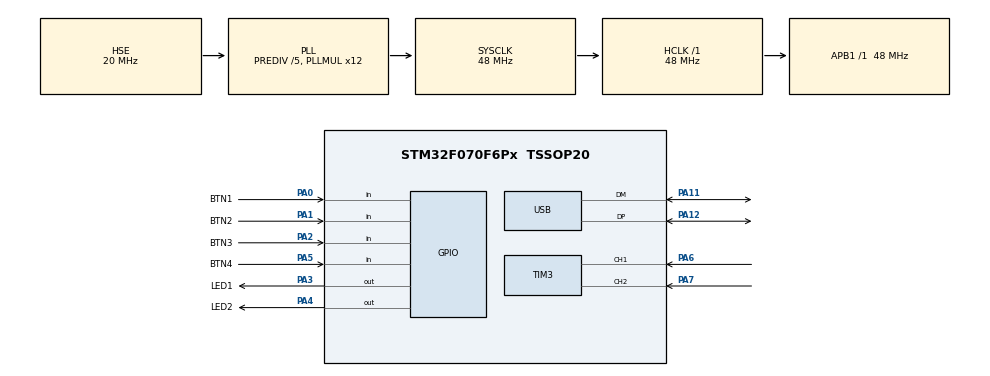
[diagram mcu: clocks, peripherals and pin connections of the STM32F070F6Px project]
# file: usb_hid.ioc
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Mcu.Family=STM32F0
Mcu.Name=STM32F070F6Px
Mcu.Package=TSSOP20
NVIC.TIM3_IRQn=true\:0\:0\:false\:false\:true\:true\:true
NVIC.USB_IRQn=true\:0\:0\:false\:false\:true\:false\:true
PA0.GPIO_Label=BTN1
PA0.GPIO_PuPd=GPIO_PULLUP
PA0.Signal=GPIO_Input
PA1.GPIO_Label=BTN2
PA1.GPIO_PuPd=GPIO_PULLUP
PA1.Signal=GPIO_Input
PA11.Mode=Device
PA11.Signal=USB_DM
PA12.Mode=Device
PA12.Signal=USB_DP
PA13.Mode=Serial_Wire
PA13.Signal=SYS_SWDIO
PA14.Mode=Serial_Wire
PA14.Signal=SYS_SWCLK
PA2.GPIO_Label=BTN3
PA2.Signal=GPIO_Input
PA3.GPIO_Label=LED1
PA3.Signal=GPIO_Output
PA4.GPIO_Label=LED2
PA4.Signal=GPIO_Output
PA5.GPIO_Label=BTN4
PA5.GPIO_PuPd=GPIO_PULLUP
PA5.Signal=GPIO_Input
PA6.GPIO_PuPd=GPIO_PULLUP
PA6.Signal=S_TIM3_CH1
PA7.GPIO_PuPd=GPIO_PULLUP
PA7.Signal=S_TIM3_CH2
PF0-OSC_IN.Mode=HSE-External-Oscillator
PF0-OSC_IN.Signal=RCC_OSC_IN
PF1-OSC_OUT.Mode=HSE-External-Oscillator
PF1-OSC_OUT.Signal=RCC_OSC_OUT
ProjectManager.HeapSize=0x200
ProjectManager.StackSize=0x400
ProjectManager.TargetToolchain=STM32CubeIDE
RCC.AHBFreq_Value=48000000
RCC.APB1Freq_Value=48000000
RCC.APB1TimFreq_Value=48000000
RCC.HCLKFreq_Value=48000000
RCC.HSE_VALUE=20000000
RCC.PLLDivider=RCC_PREDIV_DIV5
RCC.PLLMUL=RCC_PLL_MUL12
RCC.SYSCLKFreq_VALUE=48000000
RCC.SYSCLKSource=RCC_SYSCLKSOURCE_PLLCLK
SH.S_TIM3_CH1.0=TIM3_CH1,Encoder_Interface
SH.S_TIM3_CH2.0=TIM3_CH2,Encoder_Interface
USB_DEVICE.CLASS_NAME_FS=CUSTOM_HID
USB_DEVICE.PRODUCT_STRING_CUSTOMHID_FS=STM32 Webcam control
USB_DEVICE.USBD_CUSTOM_HID_REPORT_DESC_SIZE=79
USB_DEVICE.USBD_SELF_POWERED=0
USB_DEVICE.VID=0x483
USB_DEVICE.VirtualMode=CustomHid
USB_DEVICE.VirtualModeFS=Custom_Hid_FS
VP_SYS_VS_PINREMAP.Mode=PINREMAP
VP_USB_DEVICE_VS_USB_DEVICE_CUSTOM_HID_FS.Mode=CUSTOM_HID_FS
board=custom

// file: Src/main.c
/* USER CODE BEGIN Header */
/**
  ******************************************************************************
  * @file           : main.c
  * @brief          : Main program body
  ******************************************************************************
  * @attention
  *
  * <h2><center>&copy; Copyright (c) 2019 STMicroelectronics.
  * All rights reserved.</center></h2>
  *
  * This software component is licensed by ST under BSD 3-Clause license,
  * the "License"; You may not use this file except in compliance with the
  * License. You may obtain a copy of the License at:
  *                        opensource.org/licenses/BSD-3-Clause
  *
  ******************************************************************************
  */
/* USER CODE END Header */

#include "main.h"
#include "usb_device.h"

/* USER CODE BEGIN Includes */
//#include "usbd_customhid.h"
/* USER CODE END Includes */

/* USER CODE BEGIN PTD */
enum status {
	NOREADY = 0,
	INIT = 1,
	READY = 2
};

enum direction {
	FORWARD,
	BACKWARD
};

#define RPT4_COUNT 4
struct report {
	uint8_t id;
	uint8_t buf[RPT4_COUNT];
};
/* USER CODE END PTD */

TIM_HandleTypeDef htim3;

/* USER CODE BEGIN PV */
volatile enum status encoder_status = INIT;
volatile enum direction encoder_direction = FORWARD;
extern USBD_HandleTypeDef hUsbDeviceFS;
struct report rep;
/* USER CODE END PV */

void SystemClock_Config(void);
static void MX_GPIO_Init(void);
static void MX_TIM3_Init(void);

/* USER CODE BEGIN 0 */
void HAL_TIM_IC_CaptureCallback(TIM_HandleTypeDef *htim)
{
    if (encoder_status == INIT)
        encoder_status = NOREADY;
    else
        encoder_status = READY;

    encoder_direction = (htim->Instance->CR1 & TIM_CR1_DIR ? BACKWARD : FORWARD);
}
/* USER CODE END 0 */

int main(void)
{

  /* MCU Configuration--------------------------------------------------------*/

  /* Reset of all peripherals, Initializes the Flash interface and the Systick. */
  HAL_Init();

  /* Configure the system clock */
  SystemClock_Config();

  /* Initialize all configured peripherals */
  MX_GPIO_Init();
  MX_USB_DEVICE_Init();
  MX_TIM3_Init();
  /* USER CODE BEGIN 2 */

  rep.id = 4;

  GPIO_PinState oldbtn1, btn1;
  oldbtn1 = btn1 = HAL_GPIO_ReadPin(BTN1_GPIO_Port, BTN1_Pin);
  GPIO_PinState oldbtn2, btn2;
  oldbtn2 = btn2 = HAL_GPIO_ReadPin(BTN2_GPIO_Port, BTN2_Pin);
  GPIO_PinState oldbtn3, btn3;
  oldbtn3 = btn3 = HAL_GPIO_ReadPin(BTN3_GPIO_Port, BTN3_Pin);
  GPIO_PinState oldbtn4, btn4;
  oldbtn4 = btn4 = HAL_GPIO_ReadPin(BTN4_GPIO_Port, BTN4_Pin);

  HAL_TIM_Encoder_Start_IT(&htim3, TIM_CHANNEL_ALL);
  /* USER CODE END 2 */

  /* Infinite loop */
  while (1)
  {

    /* USER CODE BEGIN 3 */

	  if (encoder_status)
	  {
		  encoder_status = NOREADY;
	  	  rep.buf[0] = 1;
	  	  rep.buf[1] = encoder_direction;
	  	  USBD_CUSTOM_HID_SendReport(&hUsbDeviceFS, &rep, sizeof(rep));
	  }
	  btn1 = HAL_GPIO_ReadPin(BTN1_GPIO_Port, BTN1_Pin);
	  if (oldbtn1 != btn1){
		  oldbtn1 = btn1;
	  	  rep.buf[0] = 5;
	  	  rep.buf[1] = btn1;
	  	  USBD_CUSTOM_HID_SendReport(&hUsbDeviceFS, &rep, sizeof(rep));
	  }
	  btn2 = HAL_GPIO_ReadPin(BTN2_GPIO_Port, BTN2_Pin);
	  if (oldbtn2 != btn2){
		  oldbtn2 = btn2;
	  	  rep.buf[0] = 3;
	  	  rep.buf[1] = btn2;
	  	  USBD_CUSTOM_HID_SendReport(&hUsbDeviceFS, &rep, sizeof(rep));
	  }
	  btn3 = HAL_GPIO_ReadPin(BTN3_GPIO_Port, BTN3_Pin);
	  if (oldbtn3 != btn3){
		  oldbtn3 = btn3;
	  	  rep.buf[0] = 4;
	  	  rep.buf[1] = btn3;
	  	  USBD_CUSTOM_HID_SendReport(&hUsbDeviceFS, &rep, sizeof(rep));
	  }
	  btn4 = HAL_GPIO_ReadPin(BTN4_GPIO_Port, BTN4_Pin);
	  if (oldbtn4 != btn4){
		  oldbtn4 = btn4;
	  	  rep.buf[0] = 2;
	  	  rep.buf[1] = btn4;
	  	  USBD_CUSTOM_HID_SendReport(&hUsbDeviceFS, &rep, sizeof(rep));
	  }
  }
  /* USER CODE END 3 */
}

void SystemClock_Config(void)
{
  RCC_OscInitTypeDef RCC_OscInitStruct = {0};
  RCC_ClkInitTypeDef RCC_ClkInitStruct = {0};
  RCC_PeriphCLKInitTypeDef PeriphClkInit = {0};

  /** Initializes the CPU, AHB and APB busses clocks
  */
  RCC_OscInitStruct.OscillatorType = RCC_OSCILLATORTYPE_HSE;
  RCC_OscInitStruct.HSEState = RCC_HSE_ON;
  RCC_OscInitStruct.PLL.PLLState = RCC_PLL_ON;
  RCC_OscInitStruct.PLL.PLLSource = RCC_PLLSOURCE_HSE;
  RCC_OscInitStruct.PLL.PLLMUL = RCC_PLL_MUL12;
  RCC_OscInitStruct.PLL.PREDIV = RCC_PREDIV_DIV5;
  if (HAL_RCC_OscConfig(&RCC_OscInitStruct) != HAL_OK)
  {
    Error_Handler();
  }
  /** Initializes the CPU, AHB and APB busses clocks
  */
  RCC_ClkInitStruct.ClockType = RCC_CLOCKTYPE_HCLK|RCC_CLOCKTYPE_SYSCLK
                              |RCC_CLOCKTYPE_PCLK1;
  RCC_ClkInitStruct.SYSCLKSource = RCC_SYSCLKSOURCE_PLLCLK;
  RCC_ClkInitStruct.AHBCLKDivider = RCC_SYSCLK_DIV1;
  RCC_ClkInitStruct.APB1CLKDivider = RCC_HCLK_DIV1;

  if (HAL_RCC_ClockConfig(&RCC_ClkInitStruct, FLASH_LATENCY_1) != HAL_OK)
  {
    Error_Handler();
  }
  PeriphClkInit.PeriphClockSelection = RCC_PERIPHCLK_USB;
  PeriphClkInit.UsbClockSelection = RCC_USBCLKSOURCE_PLL;

  if (HAL_RCCEx_PeriphCLKConfig(&PeriphClkInit) != HAL_OK)
  {
    Error_Handler();
  }
}

static void MX_TIM3_Init(void)
{

  TIM_Encoder_InitTypeDef sConfig = {0};
  TIM_MasterConfigTypeDef sMasterConfig = {0};

  htim3.Instance = TIM3;
  htim3.Init.Prescaler = 0;
  htim3.Init.CounterMode = TIM_COUNTERMODE_UP;
  htim3.Init.Period = 0;
  htim3.Init.ClockDivision = TIM_CLOCKDIVISION_DIV1;
  htim3.Init.AutoReloadPreload = TIM_AUTORELOAD_PRELOAD_DISABLE;
  sConfig.EncoderMode = TIM_ENCODERMODE_TI1;
  sConfig.IC1Polarity = TIM_ICPOLARITY_RISING;
  sConfig.IC1Selection = TIM_ICSELECTION_DIRECTTI;
  sConfig.IC1Prescaler = TIM_ICPSC_DIV1;
  sConfig.IC1Filter = 0;
  sConfig.IC2Polarity = TIM_ICPOLARITY_RISING;
  sConfig.IC2Selection = TIM_ICSELECTION_DIRECTTI;
  sConfig.IC2Prescaler = TIM_ICPSC_DIV1;
  sConfig.IC2Filter = 0;
  if (HAL_TIM_Encoder_Init(&htim3, &sConfig) != HAL_OK)
  {
    Error_Handler();
  }
  sMasterConfig.MasterOutputTrigger = TIM_TRGO_RESET;
  sMasterConfig.MasterSlaveMode = TIM_MASTERSLAVEMODE_DISABLE;
  if (HAL_TIMEx_MasterConfigSynchronization(&htim3, &sMasterConfig) != HAL_OK)
  {
    Error_Handler();
  }

}

static void MX_GPIO_Init(void)
{
  GPIO_InitTypeDef GPIO_InitStruct = {0};

  /* GPIO Ports Clock Enable */
  __HAL_RCC_GPIOF_CLK_ENABLE();
  __HAL_RCC_GPIOA_CLK_ENABLE();

  /*Configure GPIO pin Output Level */
  HAL_GPIO_WritePin(GPIOA, LED1_Pin|LED2_Pin, GPIO_PIN_RESET);

  /*Configure GPIO pins : BTN1_Pin BTN2_Pin BTN4_Pin */
  GPIO_InitStruct.Pin = BTN1_Pin|BTN2_Pin|BTN4_Pin;
  GPIO_InitStruct.Mode = GPIO_MODE_INPUT;
  GPIO_InitStruct.Pull = GPIO_PULLUP;
  HAL_GPIO_Init(GPIOA, &GPIO_InitStruct);

  /*Configure GPIO pin : BTN3_Pin */
  GPIO_InitStruct.Pin = BTN3_Pin;
  GPIO_InitStruct.Mode = GPIO_MODE_INPUT;
  GPIO_InitStruct.Pull = GPIO_NOPULL;
  HAL_GPIO_Init(BTN3_GPIO_Port, &GPIO_InitStruct);

  /*Configure GPIO pins : LED1_Pin LED2_Pin */
  GPIO_InitStruct.Pin = LED1_Pin|LED2_Pin;
  GPIO_InitStruct.Mode = GPIO_MODE_OUTPUT_PP;
  GPIO_InitStruct.Pull = GPIO_NOPULL;
  GPIO_InitStruct.Speed = GPIO_SPEED_FREQ_LOW;
  HAL_GPIO_Init(GPIOA, &GPIO_InitStruct);

}

void Error_Handler(void)
{
}

/************************ (C) COPYRIGHT STMicroelectronics *****END OF FILE****/
